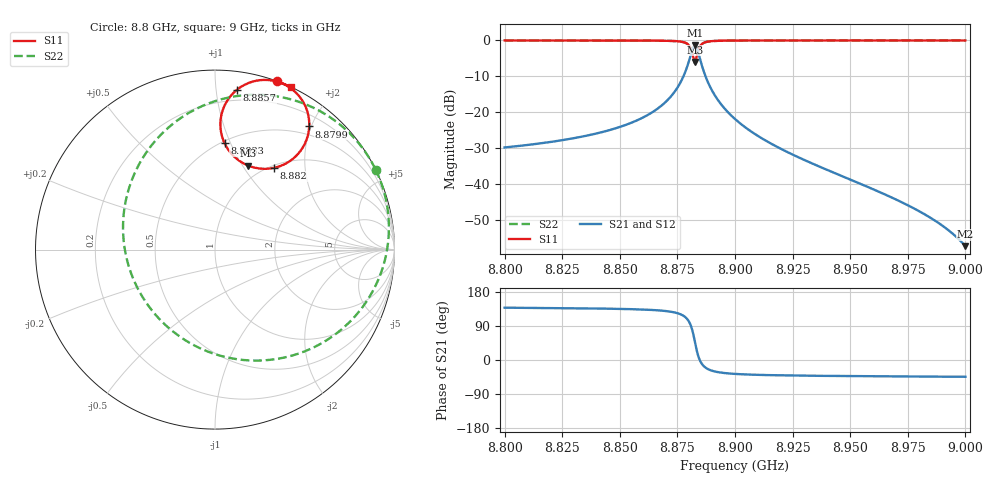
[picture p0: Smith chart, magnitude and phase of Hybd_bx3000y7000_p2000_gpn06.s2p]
! Sonnet Data File
! From: emgraph Version : 16.52
! From Emgraph Data: Resonator2
! Data File Written: 10/05/2017 15:05:29
!< HDATE 10/05/2017 13:40:33
!< MDATE 10/05/2017 13:40:33
!< PARAMS
!< gap = 6.0
!< Length = 400.0
!< Pwid1 = 2000.0
!< END PARAMS
# GHZ S MA R 50.0 !  non standard terminations in data
! TERM 51.80000 0.000000 35.97000 0.000000
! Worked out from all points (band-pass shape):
!   1595 points, 8.8 GHz to 9 GHz, reference 50 ohm
!   highest |S21| = -1.33 dB at 8.8826 GHz (marker M1); lowest = -57.2 dB at 9 GHz (marker M2)
!   |S21| within 3 dB of the highest: 8.880662 GHz to 8.884464 GHz (3.802 MHz wide, 0.0428 % of centre)
!   lowest |S11| = -6.0 dB at 8.8826 GHz (marker M3), VSWR 3.03, Z = 42.3 + j53 ohm
!   |S11| at or under -10 dB: nowhere
!   |S22| runs from -6.3 to 0.0 dB; largest |S21 - S12| = 0
!   S11 on the Smith chart (normalised r, x): 8.8 GHz: 0.00, +1.44; 8.8799 GHz: 0.36, +1.97; 8.882 GHz: 1.04, +1.38; 8.8833 GHz: 0.52, +0.95; 8.8857 GHz: 0.12, +1.14; 9 GHz: 0.00, +1.57
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8.8  0.9995 69.7  0.03252 138.1  0.03252 138.1  0.9995 26.4
!< P1 F=8.8 Eeff=(6.44679989 -2.9721e-5) Z0=(51.7992624 1.19519e-4) R=0.0 C=0.0
!< P2 F=8.8 Eeff=(5.36817953 -2.3731e-5) Z0=(35.9853883 8.0522e-5) R=0.0 C=0.0
8.8334  0.9989 68.3  0.04588 136.4  0.04588 136.4  0.9989 24.5
8.8524  0.9978 67.0  0.06663 134.6  0.06663 134.6  0.9977 22.2
8.866768  0.9933 65.0  0.1149 131.0  0.1149 131.0  0.9931 17.1
8.8756  0.9712 60.7  0.2369 122.4  0.2369 122.4  0.9704 4.5
8.8784  0.9302 56.6  0.3645 113.2  0.3645 113.2  0.9283 -9.6
8.879881  0.8639 52.6  0.5002 102.7  0.5002 102.7  0.8599 -26.4
8.880981  0.7484 49.3  0.6586 88.2  0.6586 88.2  0.7402 -51.9
8.88156  0.6484 49.7  0.7559 76.6  0.7559 76.6  0.6358 -75.4
8.882017  0.5613 54.2  0.8217 65.0  0.8217 65.0  0.5438 -103.1
8.882593  0.5033 68.4  0.8579 48.2  0.8579 48.2  0.4817 -151.9
8.883338  0.5949 84.8  0.798 26.7  0.798 26.7  0.579 147.4
8.883829  0.6914 87.5  0.7172 15.0  0.7172 15.0  0.6803 121.2
8.884407  0.7835 86.7  0.6167 4.2  0.6167 4.2  0.7763 100.7
8.885714  0.897 82.3  0.4388 -11.0  0.4388 -11.0  0.8937 75.0
8.8876  0.9549 77.8  0.2945 -21.7  0.2945 -21.7  0.9535 58.2
8.8898  0.9778 74.9  0.2077 -27.9  0.2077 -27.9  0.9771 49.0
8.9  0.9967 70.5  0.08087 -36.7  0.08087 -36.7  0.9965 36.0
8.9334  0.9998 67.4  0.01954 -41.6  0.01954 -41.6  0.9998 29.3
8.9668  1 66.0  0.006828 -43.2  0.006828 -43.2  1 27.5
8.9864  1 65.3  0.003186 -43.9  0.003186 -43.9  1 26.8
9  1 64.8  0.001379 -44.3  0.001379 -44.3  1 26.4
